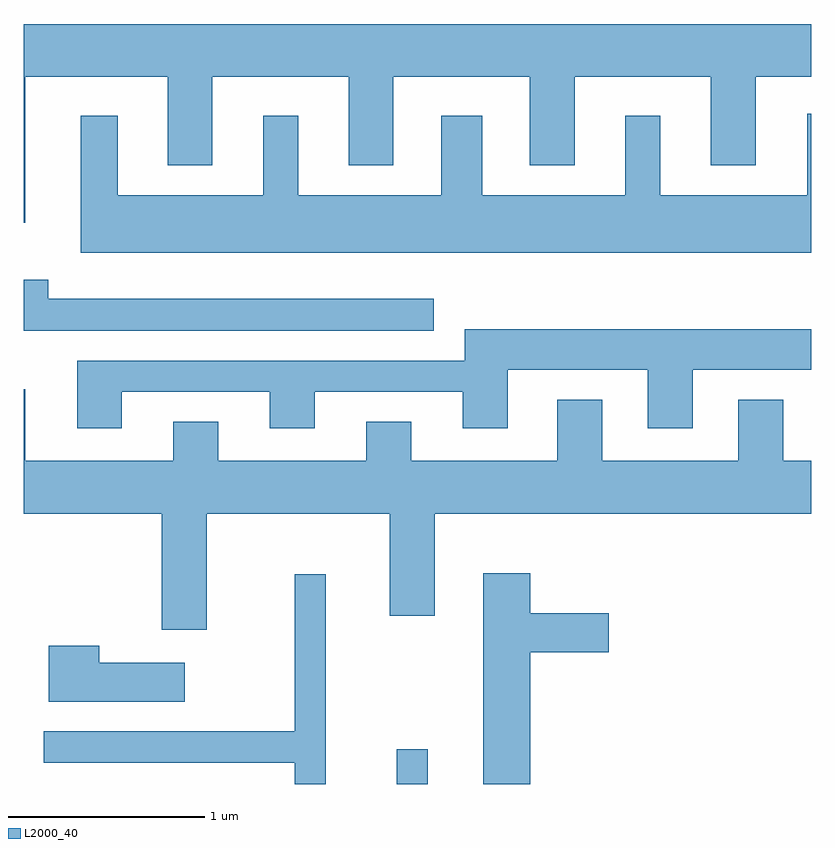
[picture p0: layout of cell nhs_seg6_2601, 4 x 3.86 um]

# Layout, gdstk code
import gdstk
lib = gdstk.Library(unit=1e-6, precision=1e-09)
def R(c, l, rs):  # rectangles x0, y0, x1, y1
    for r in rs: c.add(gdstk.rectangle(r[:2], r[2:], *l))
def P(c, l, *ps):  # polygons
    for p in ps: c.add(gdstk.Polygon(p, *l))
L2000_40 = (2000, 40)

nhs_seg6_2601 = lib.new_cell('nhs_seg6_2601')
R(nhs_seg6_2601, L2000_40, [(265.506,1604.162,265.664,1604.338)])
P(nhs_seg6_2601, L2000_40, [(263.611,1607.013),(263.619,1607.013),(263.619,1607.756),(264.341,1607.756),(264.341,1607.306),(264.569,1607.306),(264.569,1607.756),(265.261,1607.756),(265.261,1607.306),(265.489,1607.306),(265.489,1607.756),(266.181,1607.756),(266.181,1607.306),(266.409,1607.306),(266.409,1607.756),(267.101,1607.756),(267.101,1607.306),(267.329,1607.306),(267.329,1607.756),(267.611,1607.756),(267.611,1608.024),(263.611,1608.024)],
  [(267.611,1607.568),(267.591,1607.568),(267.591,1607.154),(266.844,1607.154),(266.844,1607.559),(266.666,1607.559),(266.666,1607.154),(265.939,1607.154),(265.939,1607.559),(265.731,1607.559),(265.731,1607.154),(265.004,1607.154),(265.004,1607.559),(264.826,1607.559),(264.826,1607.154),(264.089,1607.154),(264.089,1607.559),(263.901,1607.559),(263.901,1606.861),(267.611,1606.861)],
  [(265.693,1606.629),(263.734,1606.629),(263.734,1606.724),(263.611,1606.724),(263.611,1606.466),(265.693,1606.466)],
  [(264.109,1606.156),(264.861,1606.156),(264.861,1605.971),(265.089,1605.971),(265.089,1606.156),(265.841,1606.156),(265.841,1605.971),(266.069,1605.971),(266.069,1606.266),(266.781,1606.266),(266.781,1605.971),(267.009,1605.971),(267.009,1606.266),(267.611,1606.266),(267.611,1606.474),(265.851,1606.474),(265.851,1606.314),(263.881,1606.314),(263.881,1605.971),(264.109,1605.971)],
  [(264.539,1605.536),(265.471,1605.536),(265.471,1605.016),(265.699,1605.016),(265.699,1605.536),(267.611,1605.536),(267.611,1605.804),(267.469,1605.804),(267.469,1606.114),(267.241,1606.114),(267.241,1605.804),(266.549,1605.804),(266.549,1606.114),(266.321,1606.114),(266.321,1605.804),(265.579,1605.804),(265.579,1606.004),(265.351,1606.004),(265.351,1605.804),(264.599,1605.804),(264.599,1606.004),(264.371,1606.004),(264.371,1605.804),(263.619,1605.804),(263.619,1606.168),(263.611,1606.168),(263.611,1605.536),(264.311,1605.536),(264.311,1604.946),(264.539,1604.946)],
  [(266.184,1604.831),(266.584,1604.831),(266.584,1605.029),(266.184,1605.029),(266.184,1605.234),(265.946,1605.234),(265.946,1604.162),(266.184,1604.162)],
  [(265.144,1605.228),(264.986,1605.228),(264.986,1604.429),(263.713,1604.429),(263.713,1604.271),(264.986,1604.271),(264.986,1604.162),(265.144,1604.162)],
  [(264.429,1604.779),(263.994,1604.779),(263.994,1604.864),(263.736,1604.864),(263.736,1604.581),(264.429,1604.581)])

lib.write_gds('nhs_seg6_2601.gds')
